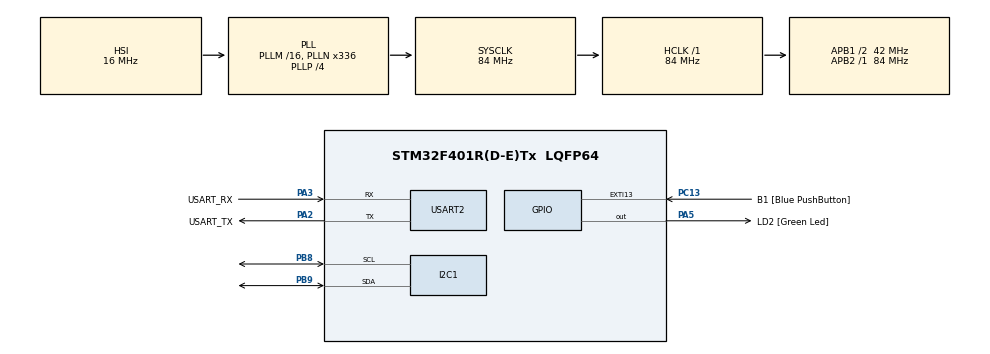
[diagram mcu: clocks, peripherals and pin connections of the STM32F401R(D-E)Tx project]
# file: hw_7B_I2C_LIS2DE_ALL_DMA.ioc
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Dma.I2C1_RX.0.Direction=DMA_PERIPH_TO_MEMORY
Dma.I2C1_RX.0.FIFOMode=DMA_FIFOMODE_DISABLE
Dma.I2C1_RX.0.Instance=DMA1_Stream0
Dma.I2C1_RX.0.MemDataAlignment=DMA_MDATAALIGN_BYTE
Dma.I2C1_RX.0.MemInc=DMA_MINC_ENABLE
Dma.I2C1_RX.0.Mode=DMA_NORMAL
Dma.I2C1_RX.0.PeriphDataAlignment=DMA_PDATAALIGN_BYTE
Dma.I2C1_RX.0.PeriphInc=DMA_PINC_DISABLE
Dma.I2C1_RX.0.Priority=DMA_PRIORITY_HIGH
Dma.Request0=I2C1_RX
Dma.Request1=USART2_TX
Dma.USART2_TX.1.Direction=DMA_MEMORY_TO_PERIPH
Dma.USART2_TX.1.FIFOMode=DMA_FIFOMODE_DISABLE
Dma.USART2_TX.1.Instance=DMA1_Stream6
Dma.USART2_TX.1.MemDataAlignment=DMA_MDATAALIGN_BYTE
Dma.USART2_TX.1.MemInc=DMA_MINC_ENABLE
Dma.USART2_TX.1.Mode=DMA_NORMAL
Dma.USART2_TX.1.PeriphDataAlignment=DMA_PDATAALIGN_BYTE
Dma.USART2_TX.1.PeriphInc=DMA_PINC_DISABLE
Dma.USART2_TX.1.Priority=DMA_PRIORITY_HIGH
Mcu.Family=STM32F4
Mcu.Name=STM32F401R(D-E)Tx
Mcu.Package=LQFP64
NVIC.DMA1_Stream0_IRQn=true\:0\:0\:false\:false\:true\:false\:true\:true
NVIC.DMA1_Stream6_IRQn=true\:0\:0\:false\:false\:true\:false\:true\:true
NVIC.I2C1_ER_IRQn=true\:0\:0\:false\:false\:true\:true\:true\:true
NVIC.I2C1_EV_IRQn=true\:0\:0\:false\:false\:true\:true\:true\:true
NVIC.PriorityGroup=NVIC_PRIORITYGROUP_0
NVIC.TIM1_UP_TIM10_IRQn=true\:0\:0\:false\:false\:true\:true\:true\:true
NVIC.USART2_IRQn=true\:0\:0\:false\:false\:true\:true\:true\:true
PA13.GPIO_Label=TMS
PA13.Mode=Serial_Wire
PA13.Signal=SYS_JTMS-SWDIO
PA14.GPIO_Label=TCK
PA14.Mode=Serial_Wire
PA14.Signal=SYS_JTCK-SWCLK
PA2.GPIO_Label=USART_TX
PA2.GPIO_Mode=GPIO_MODE_AF_PP
PA2.GPIO_PuPd=GPIO_NOPULL
PA2.GPIO_Speed=GPIO_SPEED_FREQ_LOW
PA2.Mode=Asynchronous
PA2.Signal=USART2_TX
PA3.GPIO_Label=USART_RX
PA3.GPIO_Mode=GPIO_MODE_AF_PP
PA3.GPIO_PuPd=GPIO_NOPULL
PA3.GPIO_Speed=GPIO_SPEED_FREQ_LOW
PA3.Mode=Asynchronous
PA3.Signal=USART2_RX
PA5.GPIO_Label=LD2 [Green Led]
PA5.GPIO_Mode=GPIO_MODE_OUTPUT_PP
PA5.GPIO_PuPd=GPIO_NOPULL
PA5.GPIO_Speed=GPIO_SPEED_FREQ_LOW
PA5.Signal=GPIO_Output
PB3.GPIO_Label=SWO
PB3.Signal=SYS_JTDO-SWO
PB8.Mode=I2C
PB8.Signal=I2C1_SCL
PB9.Mode=I2C
PB9.Signal=I2C1_SDA
PC13-ANTI_TAMP.GPIO_Label=B1 [Blue PushButton]
PC13-ANTI_TAMP.GPIO_ModeDefaultEXTI=GPIO_MODE_IT_FALLING
PC13-ANTI_TAMP.GPIO_PuPd=GPIO_NOPULL
PC13-ANTI_TAMP.Signal=GPXTI13
PC14-OSC32_IN.Mode=LSE-External-Oscillator
PC14-OSC32_IN.Signal=RCC_OSC32_IN
PC15-OSC32_OUT.Mode=LSE-External-Oscillator
PC15-OSC32_OUT.Signal=RCC_OSC32_OUT
PH0\ -\ OSC_IN.Mode=HSE-External-Clock-Source
PH0\ -\ OSC_IN.Signal=RCC_OSC_IN
PH1\ -\ OSC_OUT.Mode=HSE-External-Clock-Source
PH1\ -\ OSC_OUT.Signal=RCC_OSC_OUT
ProjectManager.HeapSize=0x200
ProjectManager.StackSize=0x400
ProjectManager.TargetToolchain=STM32CubeIDE
RCC.48MHZClocksFreq_Value=48000000
RCC.AHBFreq_Value=84000000
RCC.APB1CLKDivider=RCC_HCLK_DIV2
RCC.APB1Freq_Value=42000000
RCC.APB1TimFreq_Value=84000000
RCC.APB2Freq_Value=84000000
RCC.APB2TimFreq_Value=84000000
RCC.CortexFreq_Value=84000000
RCC.HCLKFreq_Value=84000000
RCC.HSE_VALUE=8000000
RCC.HSI_VALUE=16000000
RCC.PLLN=336
RCC.PLLP=RCC_PLLP_DIV4
RCC.PLLQ=7
RCC.SYSCLKFreq_VALUE=84000000
RCC.SYSCLKSource=RCC_SYSCLKSOURCE_PLLCLK
RCC.VCOOutputFreq_Value=336000000
TIM10.Period=10000-1
TIM10.Prescaler=8400-1
USART2.VirtualMode=VM_ASYNC
VP_TIM10_VS_ClockSourceINT.Mode=Enable_Timer
board=NUCLEO-F401RE

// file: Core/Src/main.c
/* USER CODE BEGIN Header */
/**
  ******************************************************************************
  * @file           : main.c
  * @brief          : Main program body
  ******************************************************************************
  * @attention
  *
  * Copyright (c) 2023 STMicroelectronics.
  * All rights reserved.
  *
  * This software is licensed under terms that can be found in the LICENSE file
  * in the root directory of this software component.
  * If no LICENSE file comes with this software, it is provided AS-IS.
  *
  ******************************************************************************
  */
/* USER CODE END Header */
#include "main.h"

/* USER CODE BEGIN PD */
#define LIS2DE_BUF_SIZE 5
/* USER CODE END PD */

I2C_HandleTypeDef hi2c1;
DMA_HandleTypeDef hdma_i2c1_rx;

TIM_HandleTypeDef htim10;

UART_HandleTypeDef huart2;
DMA_HandleTypeDef hdma_usart2_tx;

/* USER CODE BEGIN PV */

uint8_t LIS2DE_ADDRESS = 0b01010000; // LIS2DE
//uint8_t LIS2DE_ADDRESS = 0b00110000; // LIS2DE12

uint8_t LIS2DE_CTRL_1[] = {0x20, 0b00010111}; // 1 Hz + XYZ
uint8_t LIS2DE_CTRL_2[] = {0x21, 0b00000000}; // no HPF
uint8_t LIS2DE_CTRL_4[] = {0x23, 0b00000000}; // continuous update + 2g FSR, no self test

uint8_t LIS2DE_X = 0x29 + 128;

uint8_t LIS2DE_BUF[LIS2DE_BUF_SIZE];
/* USER CODE END PV */

void SystemClock_Config(void);
static void MX_GPIO_Init(void);
static void MX_DMA_Init(void);
static void MX_USART2_UART_Init(void);
static void MX_I2C1_Init(void);
static void MX_TIM10_Init(void);

/* USER CODE BEGIN 0 */

void HAL_TIM_PeriodElapsedCallback(TIM_HandleTypeDef *htim) {

	if (htim == &htim10) {

		HAL_I2C_Master_Transmit(&hi2c1, LIS2DE_ADDRESS, &LIS2DE_X, 1, 50);

		HAL_I2C_Master_Receive_DMA(&hi2c1, LIS2DE_ADDRESS, LIS2DE_BUF, LIS2DE_BUF_SIZE);

	}

}

void HAL_I2C_MasterRxCpltCallback(I2C_HandleTypeDef *hi2c) {

	int8_t accelerometer_x_raw = LIS2DE_BUF[0];
	int8_t accelerometer_y_raw = LIS2DE_BUF[2];
	int8_t accelerometer_z_raw = LIS2DE_BUF[4];

	float accelerometer_x = accelerometer_x_raw / 64.0;
	float accelerometer_y = accelerometer_y_raw / 64.0;
	float accelerometer_z = accelerometer_z_raw / 64.0;

	char string[64];

	snprintf(string, sizeof(string), "-> x: %+.2f g | y: %+.2f g | z: %+.2f g\r\n", accelerometer_x, accelerometer_y, accelerometer_z);

	HAL_UART_Transmit_DMA(&huart2, (uint8_t *)string, strlen(string));

}

/* USER CODE END 0 */

int main(void)
{

  /* MCU Configuration--------------------------------------------------------*/

  /* Reset of all peripherals, Initializes the Flash interface and the Systick. */
  HAL_Init();

  /* Configure the system clock */
  SystemClock_Config();

  /* Initialize all configured peripherals */
  MX_GPIO_Init();
  MX_DMA_Init();
  MX_USART2_UART_Init();
  MX_I2C1_Init();
  MX_TIM10_Init();
  /* USER CODE BEGIN 2 */
  HAL_I2C_Master_Transmit(&hi2c1, LIS2DE_ADDRESS, LIS2DE_CTRL_1, sizeof(LIS2DE_CTRL_1), 50);
  HAL_I2C_Master_Transmit(&hi2c1, LIS2DE_ADDRESS, LIS2DE_CTRL_2, sizeof(LIS2DE_CTRL_2), 50);
  HAL_I2C_Master_Transmit(&hi2c1, LIS2DE_ADDRESS, LIS2DE_CTRL_4, sizeof(LIS2DE_CTRL_4), 50);

  HAL_TIM_Base_Start_IT(&htim10);
  /* USER CODE END 2 */

  /* Infinite loop */
  while (1)
  {

  }
}

void SystemClock_Config(void)
{
  RCC_OscInitTypeDef RCC_OscInitStruct = {0};
  RCC_ClkInitTypeDef RCC_ClkInitStruct = {0};

  /** Configure the main internal regulator output voltage
  */
  __HAL_RCC_PWR_CLK_ENABLE();
  __HAL_PWR_VOLTAGESCALING_CONFIG(PWR_REGULATOR_VOLTAGE_SCALE2);

  /** Initializes the RCC Oscillators according to the specified parameters
  * in the RCC_OscInitTypeDef structure.
  */
  RCC_OscInitStruct.OscillatorType = RCC_OSCILLATORTYPE_HSI;
  RCC_OscInitStruct.HSIState = RCC_HSI_ON;
  RCC_OscInitStruct.HSICalibrationValue = RCC_HSICALIBRATION_DEFAULT;
  RCC_OscInitStruct.PLL.PLLState = RCC_PLL_ON;
  RCC_OscInitStruct.PLL.PLLSource = RCC_PLLSOURCE_HSI;
  RCC_OscInitStruct.PLL.PLLM = 16;
  RCC_OscInitStruct.PLL.PLLN = 336;
  RCC_OscInitStruct.PLL.PLLP = RCC_PLLP_DIV4;
  RCC_OscInitStruct.PLL.PLLQ = 7;
  if (HAL_RCC_OscConfig(&RCC_OscInitStruct) != HAL_OK)
  {
    Error_Handler();
  }

  /** Initializes the CPU, AHB and APB buses clocks
  */
  RCC_ClkInitStruct.ClockType = RCC_CLOCKTYPE_HCLK|RCC_CLOCKTYPE_SYSCLK
                              |RCC_CLOCKTYPE_PCLK1|RCC_CLOCKTYPE_PCLK2;
  RCC_ClkInitStruct.SYSCLKSource = RCC_SYSCLKSOURCE_PLLCLK;
  RCC_ClkInitStruct.AHBCLKDivider = RCC_SYSCLK_DIV1;
  RCC_ClkInitStruct.APB1CLKDivider = RCC_HCLK_DIV2;
  RCC_ClkInitStruct.APB2CLKDivider = RCC_HCLK_DIV1;

  if (HAL_RCC_ClockConfig(&RCC_ClkInitStruct, FLASH_LATENCY_2) != HAL_OK)
  {
    Error_Handler();
  }
}

static void MX_I2C1_Init(void)
{

  hi2c1.Instance = I2C1;
  hi2c1.Init.ClockSpeed = 100000;
  hi2c1.Init.DutyCycle = I2C_DUTYCYCLE_2;
  hi2c1.Init.OwnAddress1 = 0;
  hi2c1.Init.AddressingMode = I2C_ADDRESSINGMODE_7BIT;
  hi2c1.Init.DualAddressMode = I2C_DUALADDRESS_DISABLE;
  hi2c1.Init.OwnAddress2 = 0;
  hi2c1.Init.GeneralCallMode = I2C_GENERALCALL_DISABLE;
  hi2c1.Init.NoStretchMode = I2C_NOSTRETCH_DISABLE;
  if (HAL_I2C_Init(&hi2c1) != HAL_OK)
  {
    Error_Handler();
  }

}

static void MX_TIM10_Init(void)
{

  htim10.Instance = TIM10;
  htim10.Init.Prescaler = 8400-1;
  htim10.Init.CounterMode = TIM_COUNTERMODE_UP;
  htim10.Init.Period = 10000-1;
  htim10.Init.ClockDivision = TIM_CLOCKDIVISION_DIV1;
  htim10.Init.AutoReloadPreload = TIM_AUTORELOAD_PRELOAD_DISABLE;
  if (HAL_TIM_Base_Init(&htim10) != HAL_OK)
  {
    Error_Handler();
  }

}

static void MX_USART2_UART_Init(void)
{

  huart2.Instance = USART2;
  huart2.Init.BaudRate = 115200;
  huart2.Init.WordLength = UART_WORDLENGTH_8B;
  huart2.Init.StopBits = UART_STOPBITS_1;
  huart2.Init.Parity = UART_PARITY_NONE;
  huart2.Init.Mode = UART_MODE_TX_RX;
  huart2.Init.HwFlowCtl = UART_HWCONTROL_NONE;
  huart2.Init.OverSampling = UART_OVERSAMPLING_16;
  if (HAL_UART_Init(&huart2) != HAL_OK)
  {
    Error_Handler();
  }

}

static void MX_DMA_Init(void)
{

  /* DMA controller clock enable */
  __HAL_RCC_DMA1_CLK_ENABLE();

  /* DMA interrupt init */
  /* DMA1_Stream0_IRQn interrupt configuration */
  HAL_NVIC_SetPriority(DMA1_Stream0_IRQn, 0, 0);
  HAL_NVIC_EnableIRQ(DMA1_Stream0_IRQn);
  /* DMA1_Stream6_IRQn interrupt configuration */
  HAL_NVIC_SetPriority(DMA1_Stream6_IRQn, 0, 0);
  HAL_NVIC_EnableIRQ(DMA1_Stream6_IRQn);

}

static void MX_GPIO_Init(void)
{
  GPIO_InitTypeDef GPIO_InitStruct = {0};

  /* GPIO Ports Clock Enable */
  __HAL_RCC_GPIOC_CLK_ENABLE();
  __HAL_RCC_GPIOH_CLK_ENABLE();
  __HAL_RCC_GPIOA_CLK_ENABLE();
  __HAL_RCC_GPIOB_CLK_ENABLE();

  /*Configure GPIO pin Output Level */
  HAL_GPIO_WritePin(LD2_GPIO_Port, LD2_Pin, GPIO_PIN_RESET);

  /*Configure GPIO pin : B1_Pin */
  GPIO_InitStruct.Pin = B1_Pin;
  GPIO_InitStruct.Mode = GPIO_MODE_IT_FALLING;
  GPIO_InitStruct.Pull = GPIO_NOPULL;
  HAL_GPIO_Init(B1_GPIO_Port, &GPIO_InitStruct);

  /*Configure GPIO pin : LD2_Pin */
  GPIO_InitStruct.Pin = LD2_Pin;
  GPIO_InitStruct.Mode = GPIO_MODE_OUTPUT_PP;
  GPIO_InitStruct.Pull = GPIO_NOPULL;
  GPIO_InitStruct.Speed = GPIO_SPEED_FREQ_LOW;
  HAL_GPIO_Init(LD2_GPIO_Port, &GPIO_InitStruct);

}

void Error_Handler(void)
{
  __disable_irq();
  while (1)
  {
  }
}
